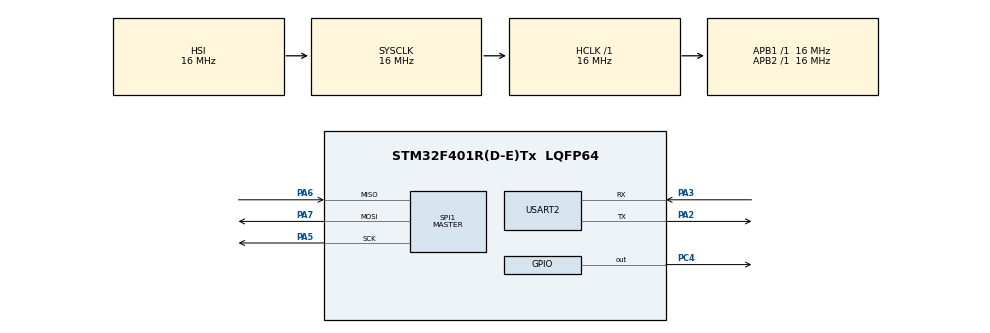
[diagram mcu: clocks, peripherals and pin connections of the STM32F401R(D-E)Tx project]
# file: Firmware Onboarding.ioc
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FREERTOS.Tasks01=defaultTask,0,128,StartDefaultTask,Default,NULL,Dynamic,NULL,NULL
FREERTOS.configUSE_NEWLIB_REENTRANT=1
Mcu.Family=STM32F4
Mcu.Name=STM32F401R(D-E)Tx
Mcu.Package=LQFP64
NVIC.PriorityGroup=NVIC_PRIORITYGROUP_4
NVIC.TIM1_UP_TIM10_IRQn=true\:15\:0\:false\:false\:true\:false\:false\:true\:true
NVIC.TimeBase=TIM1_UP_TIM10_IRQn
NVIC.TimeBaseIP=TIM10
NVIC.USART2_IRQn=true\:5\:0\:false\:false\:true\:true\:true\:true\:true
PA2.Mode=Asynchronous
PA2.Signal=USART2_TX
PA3.Mode=Asynchronous
PA3.Signal=USART2_RX
PA5.Mode=Full_Duplex_Master
PA5.Signal=SPI1_SCK
PA6.Mode=Full_Duplex_Master
PA6.Signal=SPI1_MISO
PA7.Mode=Full_Duplex_Master
PA7.Signal=SPI1_MOSI
PC4.Signal=GPIO_Output
ProjectManager.HeapSize=0x200
ProjectManager.StackSize=0x400
ProjectManager.TargetToolchain=STM32CubeIDE
RCC.AHBFreq_Value=16000000
RCC.APB1Freq_Value=16000000
RCC.APB2Freq_Value=16000000
RCC.CortexFreq_Value=16000000
RCC.HSE_VALUE=25000000
RCC.HSI_VALUE=16000000
RCC.LSE_VALUE=32768
RCC.SYSCLKFreq_VALUE=16000000
RCC.VCOOutputFreq_Value=192000000
SPI1.Direction=SPI_DIRECTION_2LINES
SPI1.Mode=SPI_MODE_MASTER
SPI1.VirtualType=VM_MASTER
USART2.VirtualMode=VM_ASYNC
VP_FREERTOS_VS_CMSIS_V1.Mode=CMSIS_V1
VP_SYS_VS_tim10.Mode=TIM10
board=custom

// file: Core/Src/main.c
/* USER CODE BEGIN Header */
/**
  ******************************************************************************
  * @file           : main.c
  * @brief          : Main program body
  ******************************************************************************
  * @attention
  *
  * Copyright (c) 2026 STMicroelectronics.
  * All rights reserved.
  *
  * This software is licensed under terms that can be found in the LICENSE file
  * in the root directory of this software component.
  * If no LICENSE file comes with this software, it is provided AS-IS.
  *
  ******************************************************************************
  */
/* USER CODE END Header */
#include "main.h"
#include "cmsis_os.h"

/* USER CODE BEGIN Includes */
#include "FreeRTOS_CLI.h"
#include <stdlib.h>
#include <stdio.h>
#include <string.h>
/* USER CODE END Includes */

SPI_HandleTypeDef hspi1;

UART_HandleTypeDef huart2;

osThreadId defaultTaskHandle;
/* USER CODE BEGIN PV */
uint8_t rx_char;
#define MAX_INPUT_LENGTH 50
char cInputString[MAX_INPUT_LENGTH]; // Holds the full command string
uint8_t rx_index = 0;
volatile uint8_t cmd_ready = 0;  // Flag to tell our FreeRTOS task a command is ready
/* USER CODE END PV */

void SystemClock_Config(void);
static void MX_GPIO_Init(void);
static void MX_SPI1_Init(void);
static void MX_USART2_UART_Init(void);
void StartDefaultTask(void const * argument);

/* USER CODE BEGIN PFP */
void AD5260_SetResistance(uint32_t target_resistance_ohms);
BaseType_t prvSetCommand(char *pcWriteBuffer, size_t xWriteBufferLen, const char *pcCommandString);
/* USER CODE END PFP */

/* USER CODE BEGIN 0 */
static const CLI_Command_Definition_t xSetCommand = {
    "set",
    "set <value>: Sets the AD5260 resistance in ohms\r\n",
    prvSetCommand,
    1 /* Expects exactly 1 parameter (the resistance value) */
};
/* USER CODE END 0 */

int main(void)
{

  /* MCU Configuration--------------------------------------------------------*/

  /* Reset of all peripherals, Initializes the Flash interface and the Systick. */
  HAL_Init();

  /* Configure the system clock */
  SystemClock_Config();

  /* Initialize all configured peripherals */
  MX_GPIO_Init();
  MX_SPI1_Init();
  MX_USART2_UART_Init();
  /* USER CODE BEGIN 2 */
  FreeRTOS_CLIRegisterCommand(&xSetCommand);
  // Start listening for 1 byte of data on USART2
  HAL_UART_Receive_IT(&huart2, &rx_char, 1);
  /* USER CODE END 2 */

  /* Create the thread(s) */
  /* definition and creation of defaultTask */
  osThreadDef(defaultTask, StartDefaultTask, osPriorityNormal, 0, 128);
  defaultTaskHandle = osThreadCreate(osThread(defaultTask), NULL);

  /* Start scheduler */
  osKernelStart();

  /* We should never get here as control is now taken by the scheduler */

  /* Infinite loop */
  while (1)
  {

  }
}

void SystemClock_Config(void)
{
  RCC_OscInitTypeDef RCC_OscInitStruct = {0};
  RCC_ClkInitTypeDef RCC_ClkInitStruct = {0};

  /** Configure the main internal regulator output voltage
  */
  __HAL_RCC_PWR_CLK_ENABLE();
  __HAL_PWR_VOLTAGESCALING_CONFIG(PWR_REGULATOR_VOLTAGE_SCALE2);

  /** Initializes the RCC Oscillators according to the specified parameters
  * in the RCC_OscInitTypeDef structure.
  */
  RCC_OscInitStruct.OscillatorType = RCC_OSCILLATORTYPE_HSI;
  RCC_OscInitStruct.HSIState = RCC_HSI_ON;
  RCC_OscInitStruct.HSICalibrationValue = RCC_HSICALIBRATION_DEFAULT;
  RCC_OscInitStruct.PLL.PLLState = RCC_PLL_NONE;
  if (HAL_RCC_OscConfig(&RCC_OscInitStruct) != HAL_OK)
  {
    Error_Handler();
  }

  /** Initializes the CPU, AHB and APB buses clocks
  */
  RCC_ClkInitStruct.ClockType = RCC_CLOCKTYPE_HCLK|RCC_CLOCKTYPE_SYSCLK
                              |RCC_CLOCKTYPE_PCLK1|RCC_CLOCKTYPE_PCLK2;
  RCC_ClkInitStruct.SYSCLKSource = RCC_SYSCLKSOURCE_HSI;
  RCC_ClkInitStruct.AHBCLKDivider = RCC_SYSCLK_DIV1;
  RCC_ClkInitStruct.APB1CLKDivider = RCC_HCLK_DIV1;
  RCC_ClkInitStruct.APB2CLKDivider = RCC_HCLK_DIV1;

  if (HAL_RCC_ClockConfig(&RCC_ClkInitStruct, FLASH_LATENCY_0) != HAL_OK)
  {
    Error_Handler();
  }
}

static void MX_SPI1_Init(void)
{

  /* SPI1 parameter configuration*/
  hspi1.Instance = SPI1;
  hspi1.Init.Mode = SPI_MODE_MASTER;
  hspi1.Init.Direction = SPI_DIRECTION_2LINES;
  hspi1.Init.DataSize = SPI_DATASIZE_8BIT;
  hspi1.Init.CLKPolarity = SPI_POLARITY_LOW;
  hspi1.Init.CLKPhase = SPI_PHASE_1EDGE;
  hspi1.Init.NSS = SPI_NSS_SOFT;
  hspi1.Init.BaudRatePrescaler = SPI_BAUDRATEPRESCALER_2;
  hspi1.Init.FirstBit = SPI_FIRSTBIT_MSB;
  hspi1.Init.TIMode = SPI_TIMODE_DISABLE;
  hspi1.Init.CRCCalculation = SPI_CRCCALCULATION_DISABLE;
  hspi1.Init.CRCPolynomial = 10;
  if (HAL_SPI_Init(&hspi1) != HAL_OK)
  {
    Error_Handler();
  }

}

static void MX_USART2_UART_Init(void)
{

  huart2.Instance = USART2;
  huart2.Init.BaudRate = 115200;
  huart2.Init.WordLength = UART_WORDLENGTH_8B;
  huart2.Init.StopBits = UART_STOPBITS_1;
  huart2.Init.Parity = UART_PARITY_NONE;
  huart2.Init.Mode = UART_MODE_TX_RX;
  huart2.Init.HwFlowCtl = UART_HWCONTROL_NONE;
  huart2.Init.OverSampling = UART_OVERSAMPLING_16;
  if (HAL_UART_Init(&huart2) != HAL_OK)
  {
    Error_Handler();
  }

}

static void MX_GPIO_Init(void)
{
  GPIO_InitTypeDef GPIO_InitStruct = {0};

  /* GPIO Ports Clock Enable */
  __HAL_RCC_GPIOA_CLK_ENABLE();
  __HAL_RCC_GPIOC_CLK_ENABLE();

  /*Configure GPIO pin Output Level */
  HAL_GPIO_WritePin(GPIOC, GPIO_PIN_4, GPIO_PIN_RESET);

  /*Configure GPIO pin : PC4 */
  GPIO_InitStruct.Pin = GPIO_PIN_4;
  GPIO_InitStruct.Mode = GPIO_MODE_OUTPUT_PP;
  GPIO_InitStruct.Pull = GPIO_NOPULL;
  GPIO_InitStruct.Speed = GPIO_SPEED_FREQ_LOW;
  HAL_GPIO_Init(GPIOC, &GPIO_InitStruct);

}

/* USER CODE BEGIN 4 */
void HAL_UART_RxCpltCallback(UART_HandleTypeDef *huart) {
    if (huart->Instance == USART2) {
        // Echo the character back to your terminal program so you can see what you type
        HAL_UART_Transmit(&huart2, &rx_char, 1, 10);

        // Check if the user pressed Enter (Carriage Return or Newline)
        if (rx_char == '\r' || rx_char == '\n') {
            cInputString[rx_index] = '\0'; // Null-terminate the string
            if (rx_index > 0) {
                cmd_ready = 1; // Signal the FreeRTOS task that a command is complete!
            }
            rx_index = 0; // Reset index for the next command

            // Print a newline for neatness on the terminal
            char newline[] = "\r\n";
            HAL_UART_Transmit(&huart2, (uint8_t *)newline, 2, 10);
        } else {
            // Safely store the character if there is room
            if (rx_index < MAX_INPUT_LENGTH - 1) {
                cInputString[rx_index] = (char)rx_char;
                rx_index++;
            }
        }
        // Very important: Re-arm the interrupt to listen for the next character!
        HAL_UART_Receive_IT(&huart2, &rx_char, 1);
    }
}

void AD5260_SetResistance(uint32_t target_resistance_ohms) {

    // 1. Clamp the input to the physical limits of the 200k chip
    if (target_resistance_ohms < 60) target_resistance_ohms = 60;
    if (target_resistance_ohms > 200000) target_resistance_ohms = 200000;

    // 2. Calculate the 8-bit data value based on the datasheet formula
    uint32_t data_calc = ((target_resistance_ohms - 60) * 256) / 200000;
    uint8_t spi_data = (uint8_t)data_calc;

    // 3. Pull CS Low to begin communication
    HAL_GPIO_WritePin(GPIOC, GPIO_PIN_4, GPIO_PIN_RESET);

    // 4. Transmit the 8 bits over SPI
    HAL_SPI_Transmit(&hspi1, &spi_data, 1, HAL_MAX_DELAY);

    // 5. Pull CS High to latch the data into the AD5260 register
    HAL_GPIO_WritePin(GPIOC, GPIO_PIN_4, GPIO_PIN_SET);
}

BaseType_t prvSetCommand(char *pcWriteBuffer, size_t xWriteBufferLen, const char *pcCommandString) {
    const char *pcParameter;
    BaseType_t xParameterStringLength;
    uint32_t target_resistance;

    // 1. Extract the first parameter (the number typed after "set ")
    pcParameter = FreeRTOS_CLIGetParameter(pcCommandString, 1, &xParameterStringLength);

    if (pcParameter != NULL) {
        // 2. Convert the text string to an integer
        target_resistance = (uint32_t)atoi(pcParameter);

        // 3. Call your hardware driver!
        AD5260_SetResistance(target_resistance);

        // 4. Send a success message back to the serial terminal
        snprintf(pcWriteBuffer, xWriteBufferLen, "Resistance set to %lu ohms.\r\n", target_resistance);
    } else {
        // Send an error if they just typed "set" with no number
        snprintf(pcWriteBuffer, xWriteBufferLen, "Error: Missing resistance parameter.\r\n");
    }

    // Return pdFALSE to tell FreeRTOS we are done generating output strings
    return pdFALSE;
}
/* USER CODE END 4 */

void StartDefaultTask(void const * argument)
{
  /* USER CODE BEGIN 5 */
  char *pcOutputString;
  BaseType_t xMoreDataToFollow;

  // Get the pointer to the CLI's internal output buffer
  pcOutputString = FreeRTOS_CLIGetOutputBuffer();

  // Print an initial prompt so you know it's running
  char init_prompt[] = "\r\nFirmware CLI Started\r\n> ";
  HAL_UART_Transmit(&huart2, (uint8_t *)init_prompt, strlen(init_prompt), HAL_MAX_DELAY);

  for(;;)
  {
      if (cmd_ready) {
          cmd_ready = 0; // Clear the flag immediately

          // Pass the input string to the FreeRTOS CLI processor
          do {
              // This calls your prvSetCommand under the hood!
              xMoreDataToFollow = FreeRTOS_CLIProcessCommand(cInputString, pcOutputString, configCOMMAND_INT_MAX_OUTPUT_SIZE);

              // Transmit whatever your command callback generated back to the terminal
              HAL_UART_Transmit(&huart2, (uint8_t *)pcOutputString, strlen(pcOutputString), HAL_MAX_DELAY);

          } while (xMoreDataToFollow != pdFALSE);

          // Print a prompt symbol for the next command
          char prompt[] = "> ";
          HAL_UART_Transmit(&huart2, (uint8_t *)prompt, 2, HAL_MAX_DELAY);
      }

      osDelay(10); // Yield to the RTOS scheduler so other tasks can run
  }
  /* USER CODE END 5 */
}

void HAL_TIM_PeriodElapsedCallback(TIM_HandleTypeDef *htim)
{
  if (htim->Instance == TIM10)
  {
    HAL_IncTick();
  }
}

void Error_Handler(void)
{
  __disable_irq();
  while (1)
  {
  }
}
